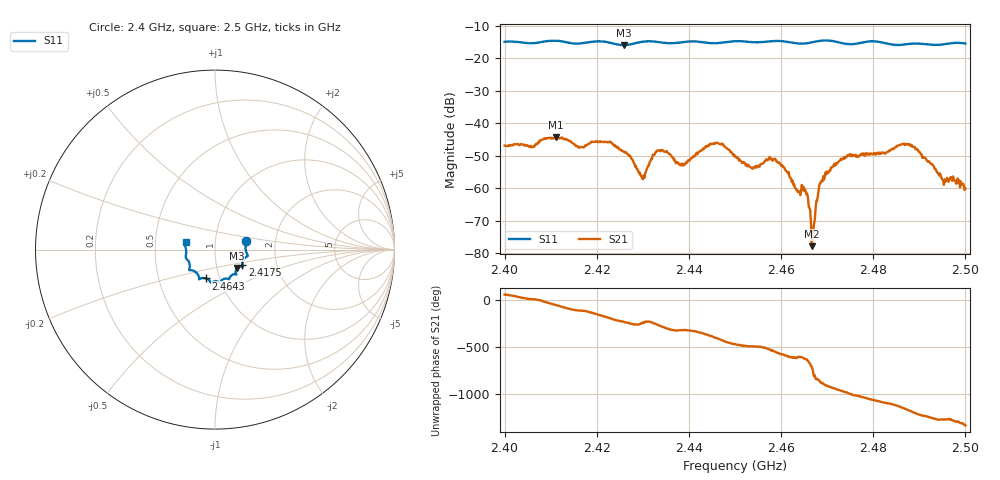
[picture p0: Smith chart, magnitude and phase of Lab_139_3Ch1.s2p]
# Hz S RI R 50
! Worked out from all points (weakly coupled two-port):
!   601 points, 2.4 GHz to 2.5 GHz, reference 50 ohm
!   highest |S21| = -44.33 dB at 2.4112 GHz (marker M1); lowest = -77.8 dB at 2.4667 GHz (marker M2)
!   lowest |S11| = -15.9 dB at 2.4258 GHz (marker M3), VSWR 1.38, Z = 62.3 - j13.2 ohm
!   |S11| at or under -10 dB: start of sweep to end of sweep
!   S12 and S22 are empty: the file has one direction only
!   S11 on the Smith chart (normalised r, x): 2.4 GHz: 1.41, +0.14; 2.4175 GHz: 1.34, -0.23; 2.4643 GHz: 0.86, -0.29; 2.5 GHz: 0.72, +0.06
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2.4e9  0.1732 0.0489  0.00238 0.00388  0 0  0 0
2.411167e9  0.1833 -0.0352  0.00358 -0.0049  0 0  0 0
2.416667e9  0.153 -0.074  -0.00185 -0.00392  0 0  0 0
2.4175e9  0.1518 -0.0836  -0.00212 -0.00407  0 0  0 0
2.425833e9  0.1219 -0.1029  -0.00226 0.00285  0 0  0 0
2.43e9  0.1174 -0.137  -0.000615 0.00123  0 0  0 0
2.433333e9  0.1135 -0.1373  -0.000239 0.00383  0 0  0 0
2.438667e9  0.0806 -0.1581  0.00174 0.00138  0 0  0 0
2.445667e9  0.0504 -0.1631  0.00366 -0.00337  0 0  0 0
2.45e9  0.0287 -0.1812  -0.0011 -0.00301  0 0  0 0
2.453833e9  0.0121 -0.1769  -0.00143 -0.0014  0 0  0 0
2.458833e9  -0.0222 -0.1839  -0.00268 0.000724  0 0  0 0
2.464333e9  -0.0499 -0.1608  -0.000333 0.00085  0 0  0 0
2.465333e9  -0.0619 -0.1582  5.03e-05 0.000904  0 0  0 0
2.466667e9  -0.076 -0.159  0.000128 1.22e-05  0 0  0 0
2.467167e9  -0.0803 -0.1602  -2.78e-05 -0.000287  0 0  0 0
2.468667e9  -0.0877 -0.165  -0.00123 -0.000288  0 0  0 0
2.471333e9  -0.088 -0.1615  -0.00161 0.0015  0 0  0 0
2.483333e9  -0.1406 -0.0897  0.00332 -0.00162  0 0  0 0
2.488333e9  -0.1612 -0.0478  -0.00167 -0.00437  0 0  0 0
2.495333e9  -0.1643 0.0137  -0.00106 0.000394  0 0  0 0
2.5e9  -0.164 0.0429  -0.000155 0.000975  0 0  0 0
